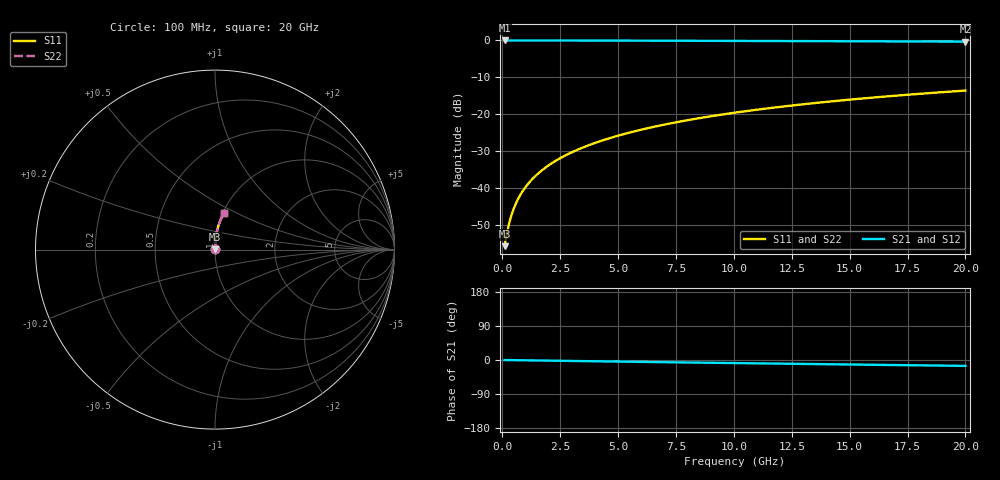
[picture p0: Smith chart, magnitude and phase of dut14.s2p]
! Touchstone file exported from HFSS 2024.1.0
!  File:  C:/UserFiles/LocalFiles/RDL_TSV_Batchsim/temp_RDL_bottom_14_1778691426.aedt
!  Generated:  12:59:50 AM May 14, 2026
!  Design:  RDL_bottom
!  Project:  temp_RDL_bottom_14_1778691426
!  Setup:  Setup1
!  Solution:  Sweep
! Variables:
!  dtsv = 10.80580581um
!  hbump = 3um
!  htsv = 50.58um
!  ldown = 147.12um
!  lrdl = 100um
!  p = 40
!  p1 = 57.17um
!  rhole = 1um
!  t = 450um
!  tdown = 3.21um
!  trdl = 3.915915916um
!  wdown = 15.7um
!  wrdl = 20um
# GHz S MA R 50.000000
! Terminal data exported
! Port[1] = RDL1_T1
! Port[2] = RDL1_T2
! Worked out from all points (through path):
!   200 points, 100 MHz to 20 GHz, reference 50 ohm
!   highest |S21| = -0.01 dB at 100 MHz (marker M1); lowest = -0.3 dB at 20 GHz (marker M2)
!   group delay of S21, straight-line fit = 2.14 ps
!   lowest |S11| = -55.8 dB at 100 MHz (marker M3), VSWR 1.00, Z = 50.1 + j0.105 ohm
!   |S11| at or under -10 dB: start of sweep to end of sweep
!   |S22| runs from -55.8 to -13.6 dB; largest |S21 - S12| = 2.6e-15
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0.1  0.001624 40.1  0.9988 -0.1  0.9988 -0.1  0.001624 40.1
! Gamma 0 0 0 0
! Port Impedance 50 0 50 0
0.2  0.002437 58.7  0.9987 -0.2  0.9987 -0.2  0.002437 58.7
0.3  0.003364 67.3  0.9987 -0.3  0.9987 -0.3  0.003364 67.3
0.4  0.004324 72.1  0.9986 -0.3  0.9986 -0.3  0.004325 72.1
0.5  0.005297 75.2  0.9986 -0.4  0.9986 -0.4  0.005298 75.2
0.6  0.006277 77.4  0.9986 -0.5  0.9986 -0.5  0.006277 77.3
0.8  0.008249 80.1  0.9985 -0.7  0.9985 -0.7  0.008249 80.1
1.1  0.01123 82.5  0.9983 -0.9  0.9983 -0.9  0.01123 82.5
1.5  0.01523 84.2  0.9981 -1.3  0.9981 -1.3  0.01523 84.2
1.8  0.01824 85.0  0.9979 -1.5  0.9979 -1.5  0.01824 85.0
2.1  0.02126 85.5  0.9977 -1.8  0.9977 -1.8  0.02126 85.5
2.7  0.02735 86.2  0.9971 -2.3  0.9971 -2.3  0.02735 86.2
3.5  0.03553 86.6  0.9962 -3.0  0.9962 -3.0  0.03553 86.6
4.2  0.04276 86.6  0.9953 -3.5  0.9953 -3.5  0.04276 86.6
5  0.05111 86.6  0.9941 -4.2  0.9941 -4.2  0.05111 86.6
5.9  0.06057 86.3  0.9927 -4.9  0.9927 -4.9  0.06057 86.3
6.8  0.07012 85.9  0.9911 -5.6  0.9911 -5.6  0.07012 85.9
8.3  0.08612 85.1  0.9884 -6.8  0.9884 -6.8  0.08612 85.1
10.1  0.1054 83.9  0.9849 -8.2  0.9849 -8.2  0.1054 83.9
13.4  0.1406 81.4  0.978 -10.7  0.978 -10.7  0.1406 81.4
16.7  0.1752 78.9  0.9705 -13.1  0.9705 -13.1  0.1752 78.9
20  0.209 76.3  0.9624 -15.5  0.9624 -15.5  0.209 76.3
